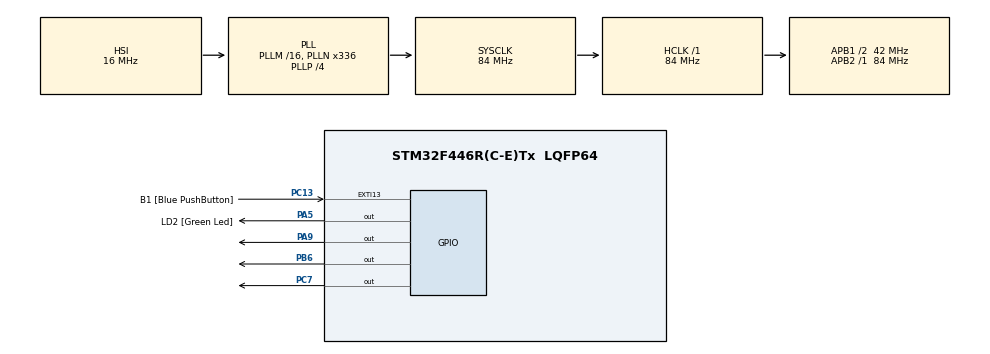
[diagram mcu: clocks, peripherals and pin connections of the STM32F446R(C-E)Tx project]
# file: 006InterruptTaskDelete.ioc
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Mcu.Family=STM32F4
Mcu.Name=STM32F446R(C-E)Tx
Mcu.Package=LQFP64
NVIC.EXTI15_10_IRQn=true\:6\:0\:true\:false\:true\:true\:true
NVIC.PriorityGroup=NVIC_PRIORITYGROUP_4
NVIC.TIM6_DAC_IRQn=true\:0\:0\:false\:false\:true\:false\:true
NVIC.TimeBase=TIM6_DAC_IRQn
NVIC.TimeBaseIP=TIM6
PA13.GPIO_Label=TMS
PA13.Signal=SYS_JTMS-SWDIO
PA14.GPIO_Label=TCK
PA14.Signal=SYS_JTCK-SWCLK
PA2.GPIO_Label=USART_TX
PA2.Signal=USART2_TX
PA3.GPIO_Label=USART_RX
PA3.Signal=USART2_RX
PA5.GPIO_Label=LD2 [Green Led]
PA5.Signal=GPIO_Output
PA9.Signal=GPIO_Output
PB3.GPIO_Label=SWO
PB3.Signal=SYS_JTDO-SWO
PB6.Signal=GPIO_Output
PC13.GPIO_Label=B1 [Blue PushButton]
PC13.GPIO_ModeDefaultEXTI=GPIO_MODE_IT_RISING
PC13.Signal=GPXTI13
PC14-OSC32_IN.Signal=RCC_OSC32_IN
PC15-OSC32_OUT.Signal=RCC_OSC32_OUT
PC7.Signal=GPIO_Output
PH0-OSC_IN.Signal=RCC_OSC_IN
PH1-OSC_OUT.Signal=RCC_OSC_OUT
ProjectManager.HeapSize=0x200
ProjectManager.StackSize=0x400
ProjectManager.TargetToolchain=STM32CubeIDE
RCC.AHBFreq_Value=84000000
RCC.APB1CLKDivider=RCC_HCLK_DIV2
RCC.APB1Freq_Value=42000000
RCC.APB1TimFreq_Value=84000000
RCC.APB2Freq_Value=84000000
RCC.APB2TimFreq_Value=84000000
RCC.CortexFreq_Value=84000000
RCC.FLatency-AdvancedSettings=FLASH_LATENCY_2
RCC.HCLKFreq_Value=84000000
RCC.HSE_VALUE=8000000
RCC.HSI_VALUE=16000000
RCC.LSE_VALUE=32768
RCC.PLLN=336
RCC.PLLP=RCC_PLLP_DIV4
RCC.SYSCLKFreq_VALUE=84000000
RCC.SYSCLKSource=RCC_SYSCLKSOURCE_PLLCLK
RCC.USBFreq_Value=168000000
RCC.VCOOutputFreq_Value=336000000
VP_SYS_VS_tim6.Mode=TIM6
board=NUCLEO-F446RE

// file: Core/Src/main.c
/* USER CODE BEGIN Header */
/**
  ******************************************************************************
  * @file           : main.c
  * @brief          : Main program body
  ******************************************************************************
  * @attention
  *
  * <h2><center>&copy; Copyright (c) 2022 STMicroelectronics.
  * All rights reserved.</center></h2>
  *
  * This software component is licensed by ST under BSD 3-Clause license,
  * the "License"; You may not use this file except in compliance with the
  * License. You may obtain a copy of the License at:
  *                        opensource.org/licenses/BSD-3-Clause
  *
  ******************************************************************************
  */
/* USER CODE END Header */

#include "main.h"

/* USER CODE BEGIN Includes */
#include "FreeRTOS.h"
#include "task.h"
/* USER CODE END Includes */

/* USER CODE BEGIN PV */
#define DWT_CTRL (*(volatile uint32_t*)0xE0001000)
/* USER CODE END PV */

void SystemClock_Config(void);
static void MX_GPIO_Init(void);
/* USER CODE BEGIN PFP */
void LedRedTask(void *parameter);
void LedGreenTask(void *parameter);
void LedYellowTask(void *parameter);
extern void SEGGER_UART_init(U32 baud);
/* USER CODE END PFP */

/* USER CODE BEGIN 0 */
TaskHandle_t GreenTaskHandle;
TaskHandle_t RedTaskHandle;
TaskHandle_t YellowTaskHandle;
TaskHandle_t volatile Next_Task_Handle = NULL;
BaseType_t status;
/* USER CODE END 0 */

int main(void)
{

  /* MCU Configuration--------------------------------------------------------*/

  /* Reset of all peripherals, Initializes the Flash interface and the Systick. */
  HAL_Init();

  /* Configure the system clock */
  SystemClock_Config();

  /* Initialize all configured peripherals */
  MX_GPIO_Init();
  /* USER CODE BEGIN 2 */
  DWT_CTRL |= (1<<0); //Set the zeroth bit to one //SEGGER UART

  SEGGER_SYSVIEW_Conf();
//  SEGGER_SYSVIEW_Start(); //Already done in UART

  status = xTaskCreate( LedGreenTask, "Led_Green_Task", 200, NULL , 2, &GreenTaskHandle );
  configASSERT(status == pdPASS);

  Next_Task_Handle = GreenTaskHandle;

  status = xTaskCreate( LedRedTask, "Led_Red_Task", 200, NULL , 2, &RedTaskHandle );
  configASSERT(status == pdPASS);
  status = xTaskCreate( LedYellowTask, "Led_Yellow_Task", 200, NULL , 2, &YellowTaskHandle );
  configASSERT(status == pdPASS);
  NVIC_EnableIRQ(EXTI15_10_IRQn);      //Enable IRQ and the interrupt occurs btw pin 10 to 15 so that argument
  __enable_irq();
  /* USER CODE END 2 */

  /* Infinite loop */
  /* USER CODE BEGIN WHILE */
  vTaskStartScheduler();
  while (1)
  {
    /* USER CODE END WHILE */

  }
}

void SystemClock_Config(void)
{
  RCC_OscInitTypeDef RCC_OscInitStruct = {0};
  RCC_ClkInitTypeDef RCC_ClkInitStruct = {0};

  /** Configure the main internal regulator output voltage
  */
  __HAL_RCC_PWR_CLK_ENABLE();
  __HAL_PWR_VOLTAGESCALING_CONFIG(PWR_REGULATOR_VOLTAGE_SCALE3);
  /** Initializes the CPU, AHB and APB busses clocks
  */
  RCC_OscInitStruct.OscillatorType = RCC_OSCILLATORTYPE_HSI;
  RCC_OscInitStruct.HSIState = RCC_HSI_ON;
  RCC_OscInitStruct.HSICalibrationValue = RCC_HSICALIBRATION_DEFAULT;
  RCC_OscInitStruct.PLL.PLLState = RCC_PLL_ON;
  RCC_OscInitStruct.PLL.PLLSource = RCC_PLLSOURCE_HSI;
  RCC_OscInitStruct.PLL.PLLM = 16;
  RCC_OscInitStruct.PLL.PLLN = 336;
  RCC_OscInitStruct.PLL.PLLP = RCC_PLLP_DIV4;
  RCC_OscInitStruct.PLL.PLLQ = 2;
  RCC_OscInitStruct.PLL.PLLR = 2;
  if (HAL_RCC_OscConfig(&RCC_OscInitStruct) != HAL_OK)
  {
    Error_Handler();
  }
  /** Initializes the CPU, AHB and APB busses clocks
  */
  RCC_ClkInitStruct.ClockType = RCC_CLOCKTYPE_HCLK|RCC_CLOCKTYPE_SYSCLK
                              |RCC_CLOCKTYPE_PCLK1|RCC_CLOCKTYPE_PCLK2;
  RCC_ClkInitStruct.SYSCLKSource = RCC_SYSCLKSOURCE_PLLCLK;
  RCC_ClkInitStruct.AHBCLKDivider = RCC_SYSCLK_DIV1;
  RCC_ClkInitStruct.APB1CLKDivider = RCC_HCLK_DIV2;
  RCC_ClkInitStruct.APB2CLKDivider = RCC_HCLK_DIV1;

  if (HAL_RCC_ClockConfig(&RCC_ClkInitStruct, FLASH_LATENCY_2) != HAL_OK)
  {
    Error_Handler();
  }
}

static void MX_GPIO_Init(void)
{
  GPIO_InitTypeDef GPIO_InitStruct = {0};

  /* GPIO Ports Clock Enable */
  __HAL_RCC_GPIOC_CLK_ENABLE();
  __HAL_RCC_GPIOH_CLK_ENABLE();
  __HAL_RCC_GPIOA_CLK_ENABLE();
  __HAL_RCC_GPIOB_CLK_ENABLE();

  /*Configure GPIO pin Output Level */
  HAL_GPIO_WritePin(GPIOA, LD2_Pin|GPIO_PIN_9, GPIO_PIN_RESET);

  /*Configure GPIO pin Output Level */
  HAL_GPIO_WritePin(GPIOC, GPIO_PIN_7, GPIO_PIN_RESET);

  /*Configure GPIO pin Output Level */
  HAL_GPIO_WritePin(GPIOB, GPIO_PIN_6, GPIO_PIN_RESET);

  /*Configure GPIO pin : B1_Pin */
  GPIO_InitStruct.Pin = B1_Pin;
  GPIO_InitStruct.Mode = GPIO_MODE_IT_RISING;
  GPIO_InitStruct.Pull = GPIO_NOPULL;
  HAL_GPIO_Init(B1_GPIO_Port, &GPIO_InitStruct);

  /*Configure GPIO pins : USART_TX_Pin USART_RX_Pin */
  GPIO_InitStruct.Pin = USART_TX_Pin|USART_RX_Pin;
  GPIO_InitStruct.Mode = GPIO_MODE_AF_PP;
  GPIO_InitStruct.Pull = GPIO_NOPULL;
  GPIO_InitStruct.Speed = GPIO_SPEED_FREQ_VERY_HIGH;
  GPIO_InitStruct.Alternate = GPIO_AF7_USART2;
  HAL_GPIO_Init(GPIOA, &GPIO_InitStruct);

  /*Configure GPIO pins : LD2_Pin PA9 */
  GPIO_InitStruct.Pin = LD2_Pin|GPIO_PIN_9;
  GPIO_InitStruct.Mode = GPIO_MODE_OUTPUT_PP;
  GPIO_InitStruct.Pull = GPIO_NOPULL;
  GPIO_InitStruct.Speed = GPIO_SPEED_FREQ_LOW;
  HAL_GPIO_Init(GPIOA, &GPIO_InitStruct);

  /*Configure GPIO pin : PC7 */
  GPIO_InitStruct.Pin = GPIO_PIN_7;
  GPIO_InitStruct.Mode = GPIO_MODE_OUTPUT_PP;
  GPIO_InitStruct.Pull = GPIO_NOPULL;
  GPIO_InitStruct.Speed = GPIO_SPEED_FREQ_LOW;
  HAL_GPIO_Init(GPIOC, &GPIO_InitStruct);

  /*Configure GPIO pin : PB6 */
  GPIO_InitStruct.Pin = GPIO_PIN_6;
  GPIO_InitStruct.Mode = GPIO_MODE_OUTPUT_PP;
  GPIO_InitStruct.Pull = GPIO_NOPULL;
  GPIO_InitStruct.Speed = GPIO_SPEED_FREQ_LOW;
  HAL_GPIO_Init(GPIOB, &GPIO_InitStruct);

  /* EXTI interrupt init*/
  HAL_NVIC_SetPriority(EXTI15_10_IRQn, 6, 0);
  HAL_NVIC_EnableIRQ(EXTI15_10_IRQn);

}

/* USER CODE BEGIN 4 */

void button_interrupt_handler(void){
	BaseType_t pxHighPriorityTaskWoken;
	pxHighPriorityTaskWoken = pdFALSE;
	traceISR_ENTER();
	xTaskNotifyFromISR(Next_Task_Handle,0,eNoAction,&pxHighPriorityTaskWoken);
	portYIELD_FROM_ISR(pxHighPriorityTaskWoken);
	traceISR_EXIT();
}

void LedGreenTask(void *parameter){
	TickType_t last_wakeup_time;
	BaseType_t NotifyTaskStatus;
	last_wakeup_time = xTaskGetTickCount();
	while(1){
		SEGGER_SYSVIEW_PrintfTarget("GREEN LED Task");
		HAL_GPIO_TogglePin(GPIOA, GPIO_PIN_9); //D8 or PA9
		NotifyTaskStatus = xTaskNotifyWait(0,0,NULL,pdMS_TO_TICKS(1000));

		if(NotifyTaskStatus == pdTRUE)
		{
			SEGGER_SYSVIEW_PrintfTarget("Deleting green led Task");
			vTaskDelay(pdMS_TO_TICKS(500));
			portENTER_CRITICAL();
			Next_Task_Handle = YellowTaskHandle;
			HAL_GPIO_WritePin(GPIOA,GPIO_PIN_9,1);
			portEXIT_CRITICAL();
			vTaskDelete(NULL); //Self-Delete
		}
		else
		{
			//Do Nothing
		}

	}/*End of Infinite Loop*/
}

void LedRedTask(void *parameter){
	TickType_t last_wakeup_time;
	BaseType_t NotifyTaskStatus;
	last_wakeup_time = xTaskGetTickCount();
	while(1){
		SEGGER_SYSVIEW_PrintfTarget("RED LED Task");
		HAL_GPIO_TogglePin(GPIOB, GPIO_PIN_6); //D10 or PB6
		NotifyTaskStatus = xTaskNotifyWait(0,0,NULL,pdMS_TO_TICKS(1000));
		if(NotifyTaskStatus == pdTRUE)
		{
			SEGGER_SYSVIEW_PrintfTarget("Deleting red led Task");
			vTaskDelay(pdMS_TO_TICKS(500));
			portENTER_CRITICAL();
			Next_Task_Handle = NULL;
			HAL_GPIO_WritePin(GPIOB,GPIO_PIN_6,1);
			portEXIT_CRITICAL();
			vTaskDelete(NULL); //Self-Delete

		}
		else
		{
			//Do Nothing
		}
	}/*End of Infinite Loop*/
}

void LedYellowTask(void *parameter){
	TickType_t last_wakeup_time;
	BaseType_t NotifyTaskStatus;
	last_wakeup_time = xTaskGetTickCount();
	while(1){
		SEGGER_SYSVIEW_PrintfTarget("YELLOW LED Task");
		HAL_GPIO_TogglePin(GPIOC, GPIO_PIN_7); //D9 or PC7
		NotifyTaskStatus = xTaskNotifyWait(0,0,NULL,pdMS_TO_TICKS(1000));
		if(NotifyTaskStatus == pdTRUE)
		{
			SEGGER_SYSVIEW_PrintfTarget("Deleting yellow led Task");
			vTaskDelay(pdMS_TO_TICKS(500));
			portENTER_CRITICAL();
			Next_Task_Handle = RedTaskHandle;
			HAL_GPIO_WritePin(GPIOC,GPIO_PIN_7,1);
			portEXIT_CRITICAL();
			vTaskDelete(NULL); //Self-Delete
		}
		else
		{
			//Do Nothing
		}
	}/*End of Infinite Loop*/
}

/* USER CODE END 4 */

 /**
  * @brief  Period elapsed callback in non blocking mode
  * @note   This function is called  when TIM6 interrupt took place, inside
  * HAL_TIM_IRQHandler(). It makes a direct call to HAL_IncTick() to increment
  * a global variable "uwTick" used as application time base.
  * @param  htim : TIM handle
  * @retval None
  */
void HAL_TIM_PeriodElapsedCallback(TIM_HandleTypeDef *htim)
{
  if (htim->Instance == TIM6) {
    HAL_IncTick();
  }
}

void Error_Handler(void)
{
}

/************************ (C) COPYRIGHT STMicroelectronics *****END OF FILE****/
